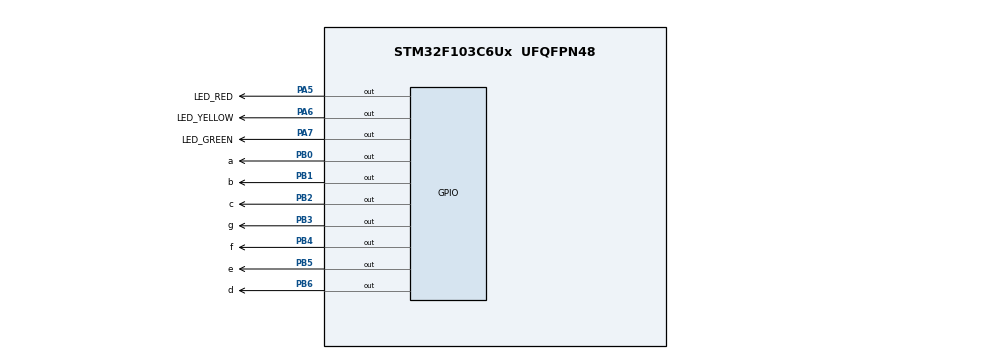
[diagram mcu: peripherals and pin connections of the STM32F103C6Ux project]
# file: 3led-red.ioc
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Mcu.Family=STM32F1
Mcu.Name=STM32F103C6Ux
Mcu.Package=UFQFPN48
NVIC.PriorityGroup=NVIC_PRIORITYGROUP_4
PA5.GPIO_Label=LED_RED
PA5.Signal=GPIO_Output
PA6.GPIO_Label=LED_YELLOW
PA6.Signal=GPIO_Output
PA7.GPIO_Label=LED_GREEN
PA7.Signal=GPIO_Output
PB0.GPIO_Label=a
PB0.Signal=GPIO_Output
PB1.GPIO_Label=b
PB1.Signal=GPIO_Output
PB2.GPIO_Label=c
PB2.Signal=GPIO_Output
PB3.GPIO_Label=g
PB3.Signal=GPIO_Output
PB4.GPIO_Label=f
PB4.Signal=GPIO_Output
PB5.GPIO_Label=e
PB5.Signal=GPIO_Output
PB6.GPIO_Label=d
PB6.Signal=GPIO_Output
ProjectManager.HeapSize=0x200
ProjectManager.StackSize=0x400
ProjectManager.TargetToolchain=STM32CubeIDE
RCC.APB1Freq_Value=8000000
RCC.APB2Freq_Value=8000000
VP_SYS_VS_ND.Mode=No_Debug
board=custom

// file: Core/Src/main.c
/* USER CODE BEGIN Header */
/**
  ******************************************************************************
  * @file           : main.c
  * @brief          : Main program body
  ******************************************************************************
  * @attention
  *
  * <h2><center>&copy; Copyright (c) 2022 STMicroelectronics.
  * All rights reserved.</center></h2>
  *
  * This software component is licensed by ST under BSD 3-Clause license,
  * the "License"; You may not use this file except in compliance with the
  * License. You may obtain a copy of the License at:
  *                        opensource.org/licenses/BSD-3-Clause
  *
  ******************************************************************************
  */
/* USER CODE END Header */
#include "main.h"

void SystemClock_Config(void);
static void MX_GPIO_Init(void);

int main(void)
{

  /* MCU Configuration--------------------------------------------------------*/

  /* Reset of all peripherals, Initializes the Flash interface and the Systick. */
  HAL_Init();

  /* Configure the system clock */
  SystemClock_Config();

  /* Initialize all configured peripherals */
  MX_GPIO_Init();

  /* Infinite loop */
  /* USER CODE BEGIN WHILE */
  int temp = 0;
  while (1)
  {
    /* USER CODE END WHILE */

    /* USER CODE BEGIN 3 */
	  if (temp < 5) {
		  HAL_GPIO_WritePin(LED_RED_GPIO_Port, LED_RED_Pin, RESET);
	 	  HAL_GPIO_WritePin(LED_GREEN_GPIO_Port, LED_GREEN_Pin, SET);
	 	  HAL_GPIO_WritePin(LED_YELLOW_GPIO_Port, LED_YELLOW_Pin, SET);
	  }
	  else if (temp < 8){
		  HAL_GPIO_WritePin(LED_RED_GPIO_Port, LED_RED_Pin, SET);
		  HAL_GPIO_WritePin(LED_GREEN_GPIO_Port, LED_GREEN_Pin, RESET);
		  HAL_GPIO_WritePin(LED_YELLOW_GPIO_Port, LED_YELLOW_Pin, SET);
	  }
	  else {
		  HAL_GPIO_WritePin(LED_RED_GPIO_Port, LED_RED_Pin, SET);
	 	  HAL_GPIO_WritePin(LED_GREEN_GPIO_Port, LED_GREEN_Pin, SET);
	 	  HAL_GPIO_WritePin(LED_YELLOW_GPIO_Port, LED_YELLOW_Pin, RESET);
	  }
	  temp++;
	  if (temp >= 10) temp = 0;
	  HAL_Delay(1000);
  }
  /* USER CODE END 3 */
}

void SystemClock_Config(void)
{
  RCC_OscInitTypeDef RCC_OscInitStruct = {0};
  RCC_ClkInitTypeDef RCC_ClkInitStruct = {0};

  /** Initializes the RCC Oscillators according to the specified parameters
  * in the RCC_OscInitTypeDef structure.
  */
  RCC_OscInitStruct.OscillatorType = RCC_OSCILLATORTYPE_HSI;
  RCC_OscInitStruct.HSIState = RCC_HSI_ON;
  RCC_OscInitStruct.HSICalibrationValue = RCC_HSICALIBRATION_DEFAULT;
  RCC_OscInitStruct.PLL.PLLState = RCC_PLL_NONE;
  if (HAL_RCC_OscConfig(&RCC_OscInitStruct) != HAL_OK)
  {
    Error_Handler();
  }
  /** Initializes the CPU, AHB and APB buses clocks
  */
  RCC_ClkInitStruct.ClockType = RCC_CLOCKTYPE_HCLK|RCC_CLOCKTYPE_SYSCLK
                              |RCC_CLOCKTYPE_PCLK1|RCC_CLOCKTYPE_PCLK2;
  RCC_ClkInitStruct.SYSCLKSource = RCC_SYSCLKSOURCE_HSI;
  RCC_ClkInitStruct.AHBCLKDivider = RCC_SYSCLK_DIV1;
  RCC_ClkInitStruct.APB1CLKDivider = RCC_HCLK_DIV1;
  RCC_ClkInitStruct.APB2CLKDivider = RCC_HCLK_DIV1;

  if (HAL_RCC_ClockConfig(&RCC_ClkInitStruct, FLASH_LATENCY_0) != HAL_OK)
  {
    Error_Handler();
  }
}

static void MX_GPIO_Init(void)
{
  GPIO_InitTypeDef GPIO_InitStruct = {0};

  /* GPIO Ports Clock Enable */
  __HAL_RCC_GPIOA_CLK_ENABLE();
  __HAL_RCC_GPIOB_CLK_ENABLE();

  /*Configure GPIO pin Output Level */
  HAL_GPIO_WritePin(GPIOA, LED_RED_Pin|LED_YELLOW_Pin|LED_GREEN_Pin, GPIO_PIN_RESET);

  /*Configure GPIO pin Output Level */
  HAL_GPIO_WritePin(GPIOB, a_Pin|b_Pin|c_Pin|g_Pin
                          |f_Pin|e_Pin|d_Pin, GPIO_PIN_RESET);

  /*Configure GPIO pins : LED_RED_Pin LED_YELLOW_Pin LED_GREEN_Pin */
  GPIO_InitStruct.Pin = LED_RED_Pin|LED_YELLOW_Pin|LED_GREEN_Pin;
  GPIO_InitStruct.Mode = GPIO_MODE_OUTPUT_PP;
  GPIO_InitStruct.Pull = GPIO_NOPULL;
  GPIO_InitStruct.Speed = GPIO_SPEED_FREQ_LOW;
  HAL_GPIO_Init(GPIOA, &GPIO_InitStruct);

  /*Configure GPIO pins : a_Pin b_Pin c_Pin g_Pin
                           f_Pin e_Pin d_Pin */
  GPIO_InitStruct.Pin = a_Pin|b_Pin|c_Pin|g_Pin
                          |f_Pin|e_Pin|d_Pin;
  GPIO_InitStruct.Mode = GPIO_MODE_OUTPUT_PP;
  GPIO_InitStruct.Pull = GPIO_NOPULL;
  GPIO_InitStruct.Speed = GPIO_SPEED_FREQ_LOW;
  HAL_GPIO_Init(GPIOB, &GPIO_InitStruct);

}

void Error_Handler(void)
{
  __disable_irq();
  while (1)
  {
  }
}

/************************ (C) COPYRIGHT STMicroelectronics *****END OF FILE****/
